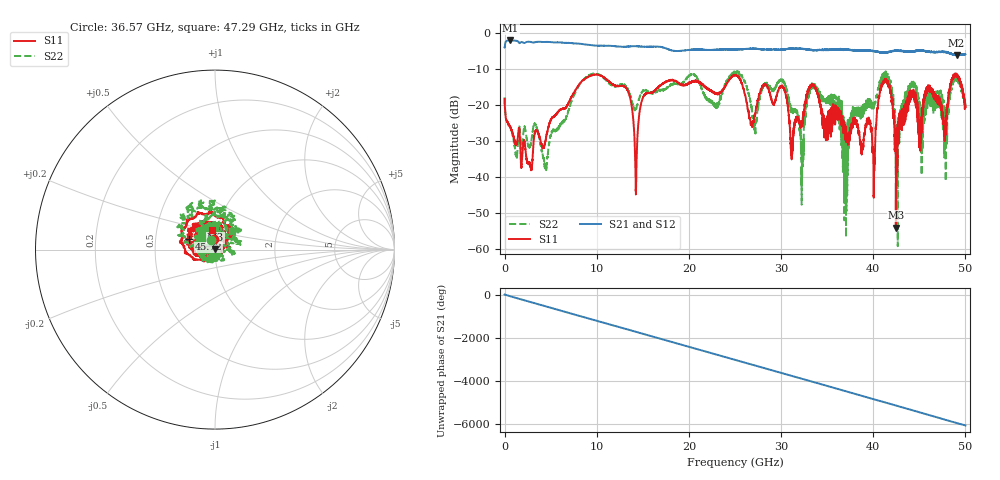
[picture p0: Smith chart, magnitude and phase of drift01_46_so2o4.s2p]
!Created with skrf (http://scikit-rf.org).
# Hz S RI R 50.0
!freq ReS11 ImS11 ReS21 ImS21 ReS12 ImS12 ReS22 ImS22
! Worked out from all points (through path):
!   10001 points, 300 kHz to 50 GHz, reference 50 ohm
!   highest |S21| = -2.00 dB at 625.3 MHz (marker M1); lowest = -6.1 dB at 49.05 GHz (marker M2)
!   group delay of S21, straight-line fit = 336 ps
!   lowest |S11| = -54.0 dB at 42.48 GHz (marker M3), VSWR 1.00, Z = 50.2 + j0.0852 ohm
!   |S11| at or under -10 dB: start of sweep to end of sweep
!   |S22| runs from -59.2 to -10.5 dB; largest |S21 - S12| = 0.022
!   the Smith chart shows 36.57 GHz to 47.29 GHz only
!   S11 on the Smith chart (normalised r, x): 36.57 GHz: 0.98, +0.12; 45.72 GHz: 0.74, +0.09; 47.29 GHz: 0.95, +0.21
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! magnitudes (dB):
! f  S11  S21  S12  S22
! 300 kHz  -18.2  -4.0  -4.1  -17.9
! 625.3 MHz  -26.1  -2.0  -2.0  -26.2
! 4.435 GHz  -29.9  -2.4  -2.4  -37.0
! 8.335 GHz  -13.5  -3.0  -3.0  -13.5
! 13.17 GHz  -15.2  -3.7  -3.8  -14.7
! 14.25 GHz  -44.8  -3.6  -3.6  -21.1
! 16.67 GHz  -14.9  -3.7  -3.7  -15.9
! 25 GHz  -11.6  -4.5  -4.6  -11.0
! 27.14 GHz  -22.6  -4.3  -4.3  -25.5
! 30.18 GHz  -15.0  -4.5  -4.5  -13.1
! 31.14 GHz  -32.3  -4.3  -4.4  -21.3
! 32.23 GHz  -24.5  -4.3  -4.4  -41.4
! 33.34 GHz  -14.3  -4.7  -4.6  -14.5
! 36.57 GHz  -24.3  -4.5  -4.5  -24.3
! 40.07 GHz  -43.2  -5.0  -5.0  -20.2
! 41.67 GHz  -14.5  -5.1  -5.2  -12.4
! 42.48 GHz  -54.0  -4.8  -4.9  -31.5
! 44.14 GHz  -17.8  -5.0  -5.1  -14.1
! 45.72 GHz  -16.0  -5.0  -5.0  -19.2
! 47.29 GHz  -19.1  -5.2  -5.2  -17.0
! 49.05 GHz  -11.4  -6.1  -6.1  -12.4
! 50 GHz  -20.1  -5.8  -5.9  -19.8
